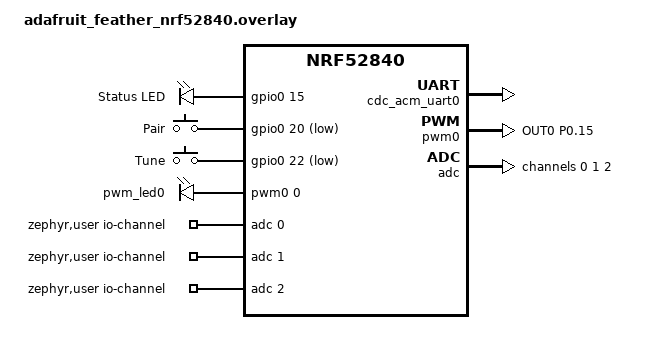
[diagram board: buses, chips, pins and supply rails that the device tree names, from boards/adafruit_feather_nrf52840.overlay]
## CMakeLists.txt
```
# firmware-pod/CMakeLists.txt
cmake_minimum_required(VERSION 3.20.0)
find_package(Zephyr REQUIRED HINTS $ENV{ZEPHYR_BASE})
project(open-elin-pod-firmware)

target_sources(app PRIVATE
  src/main.c
  src/led.c
  src/battery.c
  src/radio.c
  src/buttons.c
  src/commands.c
  src/protocol.c
  src/gatt.c
)
```

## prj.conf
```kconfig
# firmware-pod/prj.conf

# Use internal RC oscillator (SuperMini's 32.768 kHz crystal is often faulty)
CONFIG_CLOCK_CONTROL_NRF_K32SRC_RC=y
CONFIG_CLOCK_CONTROL_NRF_K32SRC_XTAL=n

# Flash layout for nice_nano UF2 bootloader (MBR at 0x0000, app starts at 0x1000)
CONFIG_FLASH_LOAD_OFFSET=0x1000
CONFIG_BUILD_OUTPUT_UF2=y
CONFIG_BUILD_OUTPUT_UF2_FAMILY_ID="0xADA52840"

# GPIO
CONFIG_GPIO=y

# Reboot support (for bootloader entry)
CONFIG_REBOOT=y

# Logging
CONFIG_LOG=y
CONFIG_LOG_DEFAULT_LEVEL=2

# USB CDC ACM serial console
CONFIG_USB_DEVICE_STACK=y
CONFIG_USB_DEVICE_PRODUCT="NXS Pod Firmware"
CONFIG_USB_DEVICE_VID=0x1209
CONFIG_USB_DEVICE_PID=0x0001
CONFIG_UART_LINE_CTRL=y

# Route console and logging to USB serial
CONFIG_CONSOLE=y
CONFIG_UART_CONSOLE=y
CONFIG_SERIAL=y
CONFIG_USB_CDC_ACM=y
CONFIG_USB_CDC_ACM_LOG_LEVEL_OFF=y

# BLE
CONFIG_BT=y
CONFIG_BT_PERIPHERAL=y
CONFIG_BT_DEVICE_NAME="NXS MTB Pod"
CONFIG_BT_DEVICE_APPEARANCE=0
CONFIG_BT_GAP_AUTO_UPDATE_CONN_PARAMS=y
CONFIG_BT_MAX_CONN=2

# BLE Security (hub bonds to pod during add-device)
CONFIG_BT_SMP=y
CONFIG_BT_BONDABLE=y
CONFIG_BT_MAX_PAIRED=1
CONFIG_BT_KEYS_OVERWRITE_OLDEST=y
CONFIG_BT_SMP_ALLOW_UNAUTH_OVERWRITE=y
CONFIG_BT_SMP_SC_PAIR_ONLY=n

# GATT
CONFIG_BT_GATT_DYNAMIC_DB=n
CONFIG_BT_ATT_TX_COUNT=4

# Flash + NVS for bond persistence
# (partition at 0xEC000, below bootloader at 0xF4000)
CONFIG_MPU_ALLOW_FLASH_WRITE=y
CONFIG_FLASH=y
CONFIG_FLASH_PAGE_LAYOUT=y
CONFIG_FLASH_MAP=y
CONFIG_NVS=y
CONFIG_NVS_LOG_LEVEL_DBG=y
CONFIG_SETTINGS=y
CONFIG_SETTINGS_NVS=y
CONFIG_BT_SETTINGS=y

# ADC (battery voltage measurement)
CONFIG_ADC=y

# PWM (battery-level LED pulse indicator)
CONFIG_PWM=y

# Watchdog
CONFIG_WATCHDOG=y

# Power management
CONFIG_PM=y

# System OFF deep sleep (sys_poweroff) — pod powers down when idle on battery,
# wakes via pair-button GPIO DETECT. ~2uA off vs ~1-3mA System ON idle.
CONFIG_POWEROFF=y

# SuperMini has no QSPI flash (Feather board enables it by default)
CONFIG_NORDIC_QSPI_NOR=n
CONFIG_NRFX_QSPI=n
```

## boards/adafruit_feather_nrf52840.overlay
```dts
/* firmware-pod/boards/adafruit_feather_nrf52840.overlay */
/* SuperMini nRF52840 pin overrides for UF2 bootloader */

#include <zephyr/dt-bindings/adc/nrf-adc.h>
#include <zephyr/dt-bindings/pwm/pwm.h>

/ {
    leds {
        compatible = "gpio-leds";
        led0: led_0 {
            gpios = <&gpio0 15 GPIO_ACTIVE_HIGH>;
            label = "Status LED";
        };
    };

    buttons {
        compatible = "gpio-keys";
        btn_pair: button_2 {
            gpios = <&gpio0 20 (GPIO_PULL_UP | GPIO_ACTIVE_LOW)>;
            label = "Pair";
        };
        btn_tune: button_3 {
            gpios = <&gpio0 22 (GPIO_PULL_UP | GPIO_ACTIVE_LOW)>;
            label = "Tune";
        };
    };

    aliases {
        sw2 = &btn_pair;
        sw3 = &btn_tune;
    };

    chosen {
        zephyr,console = &cdc_acm_uart0;
    };

    pwmleds {
        compatible = "pwm-leds";
        pwm_led0: pwm_led_0 {
            pwms = <&pwm0 0 PWM_MSEC(20) PWM_POLARITY_NORMAL>;
        };
    };
};

&zephyr_udc0 {
    cdc_acm_uart0: cdc_acm_uart0 {
        compatible = "zephyr,cdc-acm-uart";
    };
};

/* Move storage_partition BEFORE UF2 bootloader (0xF4000+).
 * Default Zephyr puts it at 0xF8000 which overlaps the Adafruit bootloader
 * at 0xF4000-0x100000 and bricks it (see https://zmk.dev/blog/2020/10/03/bootloader-fix).
 * ZMK's fix: 32KB (8 sectors) at 0xEC000-0xF4000, right below the bootloader. */

/* Delete the default storage_partition at 0xF8000 */
/delete-node/ &storage_partition;

&flash0 {
    partitions {
        /* Shrink code_partition to end before storage */
        code_partition: partition@1000 {
            reg = <0x00001000 0x000eb000>;  /* 0x1000 to 0xEC000 */
        };

        /* 32KB NVS storage, safely below bootloader */
        storage_partition: partition@ec000 {
            compatible = "zephyr,mapped-partition";
            label = "storage";
            reg = <0x000ec000 0x00008000>;  /* 0xEC000 to 0xF4000 */
        };

        /* 0xF4000-0x100000 reserved for Adafruit UF2 bootloader */
    };
};

/* PWM for battery-level LED pulse indicator */
&pwm0 {
    status = "okay";
    pinctrl-0 = <&pwm0_default>;
    pinctrl-1 = <&pwm0_sleep>;
    pinctrl-names = "default", "sleep";
};

&pinctrl {
    pwm0_default: pwm0_default {
        group1 {
            psels = <NRF_PSEL(PWM_OUT0, 0, 15)>;
        };
    };
    pwm0_sleep: pwm0_sleep {
        group1 {
            psels = <NRF_PSEL(PWM_OUT0, 0, 15)>;
            low-power-enable;
        };
    };
};

/* SuperMini has no QSPI flash — disable to suppress JEDEC ID error */
&qspi {
    status = "disabled";
};

/* Battery voltage via nRF52840 internal VDDHDIV5.
 * Reads VDDH/5 — gives real battery voltage when on battery (no USB).
 * On USB: reads ~5V (VDDH = USB), not useful for battery level.
 * No external voltage divider needed — zero hardware mods. */
/ {
    zephyr,user {
        io-channels = <&adc 0>, <&adc 1>, <&adc 2>;
    };
};

&adc {
    status = "okay";
    #address-cells = <1>;
    #size-cells = <0>;
    channel@0 {
        reg = <0>;
        zephyr,gain = "ADC_GAIN_1_6";
        zephyr,reference = "ADC_REF_INTERNAL";
        zephyr,acquisition-time = <ADC_ACQ_TIME_DEFAULT>;
        zephyr,input-positive = <NRF_SAADC_VDDHDIV5>;
        zephyr,resolution = <12>;
    };
    /* Lever UP button — P0.29 / AIN5 */
    channel@1 {
        reg = <1>;
        zephyr,gain = "ADC_GAIN_1_4";
        zephyr,reference = "ADC_REF_INTERNAL";
        zephyr,acquisition-time = <ADC_ACQ_TIME(ADC_ACQ_TIME_MICROSECONDS, 10)>;
        zephyr,input-positive = <NRF_SAADC_AIN5>;
        zephyr,resolution = <12>;
    };
    /* Lever DOWN button — P0.31 / AIN7 */
    channel@2 {
        reg = <2>;
        zephyr,gain = "ADC_GAIN_1_4";
        zephyr,reference = "ADC_REF_INTERNAL";
        zephyr,acquisition-time = <ADC_ACQ_TIME(ADC_ACQ_TIME_MICROSECONDS, 10)>;
        zephyr,input-positive = <NRF_SAADC_AIN7>;
        zephyr,resolution = <12>;
    };
};
```

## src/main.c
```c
/* firmware-pod/src/main.c — application entry point */
#include <zephyr/kernel.h>
#include <zephyr/drivers/uart.h>
#include <zephyr/usb/usb_device.h>
#include <zephyr/logging/log.h>
#include <zephyr/bluetooth/bluetooth.h>
#include <zephyr/settings/settings.h>
#include <hal/nrf_gpio.h>
#include <zephyr/drivers/watchdog.h>

#include "app.h"
#include "led.h"
#include "battery.h"
#include "radio.h"
#include "buttons.h"
#include "commands.h"

LOG_MODULE_REGISTER(main, LOG_LEVEL_INF);

struct app_state app = {
    .pending_shift = 0xFF,
};

static void usb_status_cb(enum usb_dc_status_code status, const uint8_t *param)
{
    ARG_UNUSED(param);
    switch (status) {
    case USB_DC_CONFIGURED:
    case USB_DC_RESUME:
        app.usb_active = true;
        break;
    case USB_DC_DISCONNECTED:
    case USB_DC_SUSPEND:
        app.usb_active = false;
        break;
    default:
        break;
    }
}

int main(void)
{
    usb_enable(usb_status_cb);

    /* Only wait for USB enumeration if cable is plugged in */
    if (NRF_POWER->USBREGSTATUS & POWER_USBREGSTATUS_VBUSDETECT_Msk) {
        k_msleep(1000);
    }

    led_init();
    LOG_INF("NXS pod firmware v0.1.0 (Zephyr)");

    battery_init();

    /* BLE init */
    int err = bt_enable(NULL);
    if (err) {
        LOG_ERR("BT init failed (err %d)", err);
        return 1;
    }

    /* NVS is clean — init settings subsystem only */
    int rc = settings_subsys_init();
    LOG_INF("Settings init: %d", rc);
    if (rc == 0) {
        settings_load();
        LOG_INF("Settings loaded");
    }

    radio_init();
    buttons_init();
    commands_init();

    /* Print help banner to serial */
    print_help();

    /* Silent battery check every 15min (updates cached battery_mv) */
    battery_periodic_start();

    /* Watchdog: reboot if main loop stalls for >10s */
    const struct device *wdt = DEVICE_DT_GET(DT_NODELABEL(wdt0));
    int wdt_channel = -1;
    if (device_is_ready(wdt)) {
        struct wdt_timeout_cfg wdt_cfg = {
            .window.min = 0,
            .window.max = 10000,
            .callback = NULL,
            .flags = WDT_FLAG_RESET_SOC,
        };
        wdt_channel = wdt_install_timeout(wdt, &wdt_cfg);
        if (wdt_channel >= 0) {
            wdt_setup(wdt, WDT_OPT_PAUSE_HALTED_BY_DBG);
            LOG_INF("Watchdog started (10s timeout)");
        } else {
            LOG_WRN("Watchdog timeout install failed: %d", wdt_channel);
        }
    } else {
        LOG_WRN("Watchdog device not ready");
    }

    /* Main loop: poll serial (USB CDC doesn't support interrupt-driven rx) */
    const struct device *console = DEVICE_DT_GET(DT_CHOSEN(zephyr_console));
    uint8_t ch;

    while (1) {
        if (wdt_channel >= 0) {
            wdt_feed(wdt, wdt_channel);
        }

        if (app.usb_active && uart_poll_in(console, &ch) == 0) {
            handle_command(ch);
        }

        /* Sleep longer when no USB — serial polling is pointless without a host.
         * Buttons and BLE are interrupt-driven, so nothing is missed. */
        k_msleep(app.usb_active ? 50 : 5000);
    }
    return 0;
}
```

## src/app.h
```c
/* firmware-pod/src/app.h — shared application state */
#pragma once

#include <zephyr/kernel.h>
#include <zephyr/bluetooth/conn.h>
#include <zephyr/logging/log.h>
#include "gatt.h"

/*── Shared mutable state ──*/
struct app_state {
    struct bt_conn *current_conn;
    volatile bool   radio_sleeping;
    volatile bool   usb_active;
    int32_t         battery_mv;     /* updated every 15min, on connect, and on 'v' */
    uint8_t         pending_shift;  /* btn_id to send once hub connects (0xFF = none) */
    bool            latency_relaxed;
    bool            lever_adc_debug;
    uint8_t         mfr_data[11];   /* 2 company ID + 2 type + 6 MAC + 1 flag */
};

extern struct app_state app;

/*── Button IDs ──*/
#define BTN_SHIFT_UP   0x00
#define BTN_SHIFT_DOWN 0x01
#define BTN_TUNE       0x02

/* Log to both console and BLE NUS (if subscribed). */
#define NUS_LOG(fmt, ...) do { \
    LOG_INF(fmt, ##__VA_ARGS__); \
    if (gatt_nus_is_subscribed()) { \
        char _nb[80]; \
        int _nl = snprintf(_nb, sizeof(_nb), fmt "\n", ##__VA_ARGS__); \
        if (_nl > 0) { gatt_nus_send(_nb, MIN((size_t)_nl, sizeof(_nb))); } \
    } \
} while (0)
```

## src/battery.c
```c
/* firmware-pod/src/battery.c — ADC battery and lever reading */
#include <zephyr/kernel.h>
#include <zephyr/drivers/adc.h>
#include <zephyr/logging/log.h>

#include "app.h"
#include "battery.h"

LOG_MODULE_DECLARE(main, LOG_LEVEL_INF);

/*── ADC channel specs ──*/
static const struct adc_dt_spec adc_battery =
    ADC_DT_SPEC_GET_BY_IDX(DT_PATH(zephyr_user), 0);
static const struct adc_dt_spec adc_lever_up =
    ADC_DT_SPEC_GET_BY_IDX(DT_PATH(zephyr_user), 1);
static const struct adc_dt_spec adc_lever_down =
    ADC_DT_SPEC_GET_BY_IDX(DT_PATH(zephyr_user), 2);

/* VDDHDIV5: internal 1/5 divider on VDDH pin */
#define VDIV_FACTOR 5

int battery_init(void)
{
    if (!adc_is_ready_dt(&adc_battery)) {
        LOG_ERR("ADC device not ready");
        return -ENODEV;
    }
    int err = adc_channel_setup_dt(&adc_battery);
    if (err) {
        LOG_ERR("ADC channel setup failed: %d", err);
        return err;
    }
    LOG_INF("Battery ADC ready (VDDHDIV5 internal)");

    err = adc_channel_setup_dt(&adc_lever_up);
    if (err) {
        LOG_ERR("ADC lever-up setup failed: %d", err);
        return err;
    }
    err = adc_channel_setup_dt(&adc_lever_down);
    if (err) {
        LOG_ERR("ADC lever-down setup failed: %d", err);
        return err;
    }
    LOG_INF("Lever ADC ready (AIN5=up, AIN7=down)");
    return 0;
}

int32_t read_battery_mv(void)
{
    int16_t buf;
    struct adc_sequence seq = {
        .buffer = &buf,
        .buffer_size = sizeof(buf),
    };
    adc_sequence_init_dt(&adc_battery, &seq);
    int err = adc_read_dt(&adc_battery, &seq);
    if (err) {
        LOG_ERR("ADC read failed: %d", err);
        return -1;
    }
    int32_t mv = buf;
    adc_raw_to_millivolts_dt(&adc_battery, &mv);
    return mv * VDIV_FACTOR;
}

static int32_t read_lever_mv(const struct adc_dt_spec *spec)
{
    int16_t buf;
    struct adc_sequence seq = {
        .buffer = &buf,
        .buffer_size = sizeof(buf),
    };
    adc_sequence_init_dt(spec, &seq);
    int err = adc_read_dt(spec, &seq);
    if (err) {
        return -1;
    }
    int32_t mv = buf;
    adc_raw_to_millivolts_dt(spec, &mv);
    return mv;
}

int32_t read_lever_up_mv(void)
{
    return read_lever_mv(&adc_lever_up);
}

int32_t read_lever_down_mv(void)
{
    return read_lever_mv(&adc_lever_down);
}

/*── Background battery check (every 15min) ──*/
static void battery_work_handler(struct k_work *work)
{
    ARG_UNUSED(work);
    app.battery_mv = read_battery_mv();
}
static K_WORK_DEFINE(battery_work, battery_work_handler);

static void periodic_timer_handler(struct k_timer *timer)
{
    ARG_UNUSED(timer);
    k_work_submit(&battery_work);
}
static K_TIMER_DEFINE(periodic_timer, periodic_timer_handler, NULL);

void battery_periodic_start(void)
{
    k_timer_start(&periodic_timer, K_MINUTES(15), K_MINUTES(15));
}
```

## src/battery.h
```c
/* firmware-pod/src/battery.h — ADC battery and lever reading */
#pragma once

#include <stdint.h>

int     battery_init(void);
int32_t read_battery_mv(void);
int32_t read_lever_up_mv(void);
int32_t read_lever_down_mv(void);
void    battery_periodic_start(void);
```

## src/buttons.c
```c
/* firmware-pod/src/buttons.c — GPIO buttons and lever ADC polling */
#include <zephyr/kernel.h>
#include <zephyr/drivers/gpio.h>
#include <zephyr/logging/log.h>
#include <hal/nrf_gpio.h>

#include "app.h"
#include "buttons.h"
#include "radio.h"
#include "led.h"
#include "battery.h"

LOG_MODULE_DECLARE(main, LOG_LEVEL_INF);

/*── GPIO button specs ──*/
static const struct gpio_dt_spec btn_pair = GPIO_DT_SPEC_GET(DT_ALIAS(sw2), gpios); /* P0.20 */
static const struct gpio_dt_spec btn_tune = GPIO_DT_SPEC_GET(DT_ALIAS(sw3), gpios); /* P0.22 */
static struct gpio_callback btn_pair_cb_data;
static struct gpio_callback btn_tune_cb_data;

/*── Lever ADC polling ──*/
#define LEVER_THRESHOLD_MV  300   /* <300mV = button pressed (switch shorts to GND) */
#define LEVER_POLL_MS       10    /* poll every 10ms */
#define DEBOUNCE_MS         150

static int64_t last_shift_ms;     /* shared across up/down to suppress crosstalk */
static bool lever_up_pressed;
static bool lever_down_pressed;

static void lever_poll_work_handler(struct k_work *work);
static K_WORK_DEFINE(lever_poll_work, lever_poll_work_handler);

static void lever_poll_timer_handler(struct k_timer *timer);
static K_TIMER_DEFINE(lever_poll_timer, lever_poll_timer_handler, NULL);

static void lever_poll_timer_handler(struct k_timer *timer)
{
    ARG_UNUSED(timer);
    k_work_submit(&lever_poll_work);
}

static void lever_poll_work_handler(struct k_work *work)
{
    ARG_UNUSED(work);
    int32_t mv_up = read_lever_up_mv();
    int32_t mv_down = read_lever_down_mv();

    if (app.lever_adc_debug) {
        static int32_t prev_up = -1, prev_down = -1;
        if (mv_up != prev_up || mv_down != prev_down) {
            printk("ADC up=%d dn=%d\n", (int)mv_up, (int)mv_down);
            prev_up = mv_up;
            prev_down = mv_down;
        }
    }

    /* Lever switches are normally-open to GND: idle=VDD(2399mV), pressed=~0mV */
    bool up_now = (mv_up < LEVER_THRESHOLD_MV);
    bool down_now = (mv_down < LEVER_THRESHOLD_MV);

    if (up_now && !lever_up_pressed) {
        lever_up_pressed = true;
        int64_t now = k_uptime_get();
        if (now - last_shift_ms >= DEBOUNCE_MS) {
            last_shift_ms = now;
            send_shift_or_queue(BTN_SHIFT_UP);
        }
    } else if (!up_now) {
        lever_up_pressed = false;
    }

    if (down_now && !lever_down_pressed) {
        lever_down_pressed = true;
        int64_t now = k_uptime_get();
        if (now - last_shift_ms >= DEBOUNCE_MS) {
            last_shift_ms = now;
            send_shift_or_queue(BTN_SHIFT_DOWN);
        }
    } else if (!down_now) {
        lever_down_pressed = false;
    }
}

void buttons_lever_poll_start(void)
{
    k_timer_start(&lever_poll_timer, K_MSEC(LEVER_POLL_MS), K_MSEC(LEVER_POLL_MS));
}

void buttons_lever_poll_stop(void)
{
    k_timer_stop(&lever_poll_timer);
}

/*── GPIO button handlers ──*/
static void btn_pair_work_handler(struct k_work *work);
static void btn_pair_hold_handler(struct k_work *work);
static void btn_tune_work_handler(struct k_work *work);
static K_WORK_DEFINE(btn_pair_work, btn_pair_work_handler);
static K_WORK_DELAYABLE_DEFINE(btn_pair_hold_work, btn_pair_hold_handler);
static K_WORK_DEFINE(btn_tune_work, btn_tune_work_handler);

static void btn_pair_isr(const struct device *dev, struct gpio_callback *cb, uint32_t pins)
{
    ARG_UNUSED(dev); ARG_UNUSED(cb); ARG_UNUSED(pins);
    k_work_submit(&btn_pair_work);
}

static void btn_tune_isr(const struct device *dev, struct gpio_callback *cb, uint32_t pins)
{
    ARG_UNUSED(dev); ARG_UNUSED(cb); ARG_UNUSED(pins);
    k_work_submit(&btn_tune_work);
}

static int64_t last_btn_pair_ms;
static int64_t last_btn_tune_ms;

static void btn_pair_work_handler(struct k_work *work)
{
    ARG_UNUSED(work);

    if (gpio_pin_get_dt(&btn_pair)) {
        /* Button pressed — debounce only the press edge so a quick tap's
         * release is never swallowed (else the 6s hold timer would fire). */
        int64_t now = k_uptime_get();
        if (now - last_btn_pair_ms < DEBOUNCE_MS) { return; }
        last_btn_pair_ms = now;

        /* Wake radio, flash battery level, start 6s hold timer */
        if (app.radio_sleeping) {
            radio_wake();
        }
        /* Fresh battery read + PWM brightness flash */
        app.battery_mv = read_battery_mv();
        led_battery_flash(app.battery_mv);
        NUS_LOG("Battery: %d mV%s", app.battery_mv, app.usb_active ? " (USB)" : "");
        /* Send battery to hub if connected */
        if (app.current_conn) {
            send_battery();
        }
        k_work_schedule(&btn_pair_hold_work, K_SECONDS(6));
    } else {
        /* Button released — always cancel the pending hold (no debounce gate) */
        k_work_cancel_delayable(&btn_pair_hold_work);
    }
}

static void btn_pair_hold_handler(struct k_work *work)
{
    ARG_UNUSED(work);
    set_pairing_mode(true);
}

static void btn_tune_work_handler(struct k_work *work)
{
    ARG_UNUSED(work);
    int64_t now = k_uptime_get();
    if (now - last_btn_tune_ms < DEBOUNCE_MS) { return; }
    last_btn_tune_ms = now;
    send_shift_or_queue(BTN_TUNE);
}

/*── Init ──*/
void buttons_init(void)
{
    /* GPIO buttons */
    gpio_pin_configure_dt(&btn_pair, GPIO_INPUT);
    gpio_pin_interrupt_configure_dt(&btn_pair, GPIO_INT_EDGE_BOTH);  /* need both edges for long-press */
    gpio_init_callback(&btn_pair_cb_data, btn_pair_isr, BIT(btn_pair.pin));
    gpio_add_callback(btn_pair.port, &btn_pair_cb_data);
    gpio_pin_configure_dt(&btn_tune, GPIO_INPUT);
    gpio_pin_interrupt_configure_dt(&btn_tune, GPIO_INT_EDGE_TO_ACTIVE);
    gpio_init_callback(&btn_tune_cb_data, btn_tune_isr, BIT(btn_tune.pin));
    gpio_add_callback(btn_tune.port, &btn_tune_cb_data);
    LOG_INF("GPIO buttons: P0.20=pair P0.22=tune");

    /* Internal pull-ups on lever ADC pins (P0.29=AIN5, P0.31=AIN7).
     * Di2 lever buttons are normally-open switches to GND.
     * Idle: pin pulled to VDD (~2400mV) by pull-up.  Pressed: ~0mV.
     * INPUT=Disconnect avoids digital buffer loading the analog signal. */
    nrf_gpio_cfg(29, NRF_GPIO_PIN_DIR_INPUT, NRF_GPIO_PIN_INPUT_DISCONNECT,
                 NRF_GPIO_PIN_PULLUP, NRF_GPIO_PIN_S0S1, NRF_GPIO_PIN_NOSENSE);
    nrf_gpio_cfg(31, NRF_GPIO_PIN_DIR_INPUT, NRF_GPIO_PIN_INPUT_DISCONNECT,
                 NRF_GPIO_PIN_PULLUP, NRF_GPIO_PIN_S0S1, NRF_GPIO_PIN_NOSENSE);
    LOG_INF("Internal pull-ups enabled on P0.29 and P0.31");

    /* Lever ADC polling starts when hub connects (not at boot — saves power) */
    int32_t up0 = read_lever_up_mv();
    int32_t dn0 = read_lever_down_mv();
    LOG_INF("Lever ADC ready: P0.29=up P0.31=down (%dms, <%dmV)",
            LEVER_POLL_MS, LEVER_THRESHOLD_MV);
    LOG_INF("Lever ADC idle: up=%dmV down=%dmV", up0, dn0);
}
```

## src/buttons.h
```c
/* firmware-pod/src/buttons.h — GPIO buttons and lever ADC polling */
#pragma once

void buttons_init(void);
void buttons_lever_poll_start(void);
void buttons_lever_poll_stop(void);
```

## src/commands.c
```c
/* firmware-pod/src/commands.c — Serial and NUS command handling */
#include <zephyr/kernel.h>
#include <zephyr/sys/reboot.h>
#include <zephyr/logging/log.h>
#include <hal/nrf_gpio.h>

#include "app.h"
#include "commands.h"
#include "radio.h"
#include "led.h"
#include "battery.h"
#include "gatt.h"

LOG_MODULE_DECLARE(main, LOG_LEVEL_INF);

static void enter_bootloader(void)
{
    NRF_POWER->GPREGRET = 0x57;
    sys_reboot(SYS_REBOOT_COLD);
}

void print_help(void)
{
    /* Serial: ANSI colored (bold keys, yellow header) */
    printk("\033[1;33mCommands:\033[0m "
           "\033[1mu\033[0m=up \033[1md\033[0m=down \033[1mt\033[0m=tune\n"
           "         \033[1mp\033[0m=wake \033[1mP\033[0m=pair \033[1mB\033[0m=boot "
           "\033[1mS\033[0m=sleep\n"
           "         \033[1mL\033[0m=latency \033[1mv\033[0m=battery "
           "\033[1m0-9\033[0m=sim bat\n"
           "         \033[1ma\033[0m=adc "
           "\033[1m?\033[0m=help\n");
    /* NUS: plain text (no ANSI) */
    if (gatt_nus_is_subscribed()) {
        gatt_nus_send("Commands: u=up d=down t=tune\n", 30);
        gatt_nus_send("p=wake P=pair B=boot S=sleep\n", 29);
        gatt_nus_send("L=latency v=bat 0-9=sim a=adc\n", 31);
        gatt_nus_send("?=help\n", 7);
    }
}

void handle_command(uint8_t ch)
{
    if (ch == 'u') {
        send_shift_or_queue(BTN_SHIFT_UP);
    } else if (ch == 'd') {
        send_shift_or_queue(BTN_SHIFT_DOWN);
    } else if (ch == 't') {
        send_shift_or_queue(BTN_TUNE);
    } else if (ch == 'p') {
        if (app.radio_sleeping) {
            radio_wake();
        }
    } else if (ch == 'P') {
        set_pairing_mode(true);
    } else if (ch == 'B') {
        NUS_LOG("Entering bootloader...");
        k_msleep(100);
        enter_bootloader();
    } else if (ch == 'S') {
        if (app.current_conn) {
            NUS_LOG("Can't sleep while connected");
        } else {
            radio_force_sleep();
        }
    } else if (ch == 'L') {
        radio_force_latency_escalation();
    } else if (ch == 'v') {
        app.battery_mv = read_battery_mv();
        NUS_LOG("Battery: %d mV%s", app.battery_mv, app.usb_active ? " (USB)" : "");
    } else if (ch >= '0' && ch <= '9') {
        /* Simulate battery level: 0=3000mV(dead) .. 9=4200mV(full) */
        int32_t sim_mv = 3000 + (ch - '0') * 1200 / 9;
        app.battery_mv = sim_mv;
        led_battery_flash(sim_mv);
        NUS_LOG("Sim battery: %d mV (key %c)", sim_mv, ch);
    } else if (ch == 'a') {
        app.lever_adc_debug = !app.lever_adc_debug;
        NUS_LOG("Lever ADC debug: %s", app.lever_adc_debug ? "ON (10ms)" : "OFF");
    } else if (ch == '?') {
        print_help();
    }
}

static void on_nus_rx(const uint8_t *data, uint16_t len)
{
    if (len == 0) return;
    handle_command(data[0]);
}

static void on_nus_subscribe(bool subscribed)
{
    if (subscribed) {
        print_help();
    }
}

void commands_init(void)
{
    gatt_set_nus_rx_cb(on_nus_rx);
    gatt_set_nus_subscribe_cb(on_nus_subscribe);
}
```

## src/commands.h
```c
/* firmware-pod/src/commands.h — Serial and NUS command handling */
#pragma once

#include <stdint.h>

void commands_init(void);
void handle_command(uint8_t ch);
void print_help(void);
```

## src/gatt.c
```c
/* firmware-pod/src/gatt.c */
#include "gatt.h"
#include <zephyr/bluetooth/bluetooth.h>
#include <zephyr/bluetooth/uuid.h>
#include <zephyr/bluetooth/gatt.h>
#include <zephyr/logging/log.h>
#include <stdbool.h>
#include <string.h>

LOG_MODULE_REGISTER(gatt, LOG_LEVEL_INF);

/* BikeNet service UUID: a5c1c000-cc20-ba91-0c1a-ef3f9e643d79 */
static struct bt_uuid_128 svc_uuid = BT_UUID_INIT_128(
    0x79, 0x3D, 0x64, 0x9E, 0x3F, 0xEF, 0x1A, 0x0C,
    0x91, 0xBA, 0x20, 0xCC, 0x00, 0xC0, 0xC1, 0xA5);

/* MSG characteristic UUID: a5c1cc01-cc20-ba91-0c1a-ef3f9e643d79 */
static struct bt_uuid_128 msg_uuid = BT_UUID_INIT_128(
    0x79, 0x3D, 0x64, 0x9E, 0x3F, 0xEF, 0x1A, 0x0C,
    0x91, 0xBA, 0x20, 0xCC, 0x01, 0xCC, 0xC1, 0xA5);

/* PIN characteristic UUID: a5c1cc02-cc20-ba91-0c1a-ef3f9e643d79 */
static struct bt_uuid_128 pin_uuid = BT_UUID_INIT_128(
    0x79, 0x3D, 0x64, 0x9E, 0x3F, 0xEF, 0x1A, 0x0C,
    0x91, 0xBA, 0x20, 0xCC, 0x02, 0xCC, 0xC1, 0xA5);

static gatt_write_cb_t msg_write_cb;
static gatt_write_cb_t pin_write_cb;

static uint8_t msg_buf[20];
static uint8_t pin_buf[20];

void gatt_set_msg_write_cb(gatt_write_cb_t cb) { msg_write_cb = cb; }
void gatt_set_pin_write_cb(gatt_write_cb_t cb) { pin_write_cb = cb; }

static ssize_t msg_write(struct bt_conn *conn, const struct bt_gatt_attr *attr,
                         const void *buf, uint16_t len, uint16_t offset, uint8_t flags)
{
    if (offset + len > sizeof(msg_buf)) {
        return BT_GATT_ERR(BT_ATT_ERR_INVALID_OFFSET);
    }
    memcpy(msg_buf + offset, buf, len);
    LOG_HEXDUMP_INF(msg_buf, len, "<- MSG");
    if (msg_write_cb) {
        msg_write_cb(msg_buf, len);
    }
    return len;
}

static ssize_t pin_write(struct bt_conn *conn, const struct bt_gatt_attr *attr,
                         const void *buf, uint16_t len, uint16_t offset, uint8_t flags)
{
    if (offset + len > sizeof(pin_buf)) {
        return BT_GATT_ERR(BT_ATT_ERR_INVALID_OFFSET);
    }
    memcpy(pin_buf + offset, buf, len);
    LOG_HEXDUMP_INF(pin_buf, len, "<- PIN");
    if (pin_write_cb) {
        pin_write_cb(pin_buf, len);
    }
    return len;
}

static void msg_ccc_changed(const struct bt_gatt_attr *attr, uint16_t value)
{
    LOG_INF("MSG notifications %s", value == BT_GATT_CCC_NOTIFY ? "enabled" : "disabled");
}

static void pin_ccc_changed(const struct bt_gatt_attr *attr, uint16_t value)
{
    LOG_INF("PIN notifications %s", value == BT_GATT_CCC_NOTIFY ? "enabled" : "disabled");
}

/* GATT service layout:
 * [0] Primary Service declaration
 * [1] MSG Characteristic declaration
 * [2] MSG Value attribute (write handler)
 * [3] MSG CCC descriptor
 * [4] PIN Characteristic declaration
 * [5] PIN Value attribute (write handler)
 * [6] PIN CCC descriptor
 */
BT_GATT_SERVICE_DEFINE(bikenet_svc,
    BT_GATT_PRIMARY_SERVICE(&svc_uuid),

    /* MSG: write + write_no_resp + notify */
    BT_GATT_CHARACTERISTIC(&msg_uuid.uuid,
        BT_GATT_CHRC_WRITE | BT_GATT_CHRC_WRITE_WITHOUT_RESP | BT_GATT_CHRC_NOTIFY,
        BT_GATT_PERM_WRITE,
        NULL, msg_write, NULL),
    BT_GATT_CCC(msg_ccc_changed, BT_GATT_PERM_READ | BT_GATT_PERM_WRITE),

    /* PIN: write + write_no_resp + notify */
    BT_GATT_CHARACTERISTIC(&pin_uuid.uuid,
        BT_GATT_CHRC_WRITE | BT_GATT_CHRC_WRITE_WITHOUT_RESP | BT_GATT_CHRC_NOTIFY,
        BT_GATT_PERM_WRITE,
        NULL, pin_write, NULL),
    BT_GATT_CCC(pin_ccc_changed, BT_GATT_PERM_READ | BT_GATT_PERM_WRITE),
);

int gatt_notify_msg(const uint8_t *data, size_t len)
{
    return bt_gatt_notify(NULL, &bikenet_svc.attrs[2], data, len);
}

int gatt_notify_pin(const uint8_t *data, size_t len)
{
    return bt_gatt_notify(NULL, &bikenet_svc.attrs[5], data, len);
}

/*── Nordic UART Service (NUS) ──────────────────────────────────────────────*/
/* UUID: 6e400001-b5a3-f393-e0a9-e50e24dcca9e */
static struct bt_uuid_128 nus_svc_uuid = BT_UUID_INIT_128(
    0x9E, 0xCA, 0xDC, 0x24, 0x0E, 0xE5, 0xA9, 0xE0,
    0x93, 0xF3, 0xA3, 0xB5, 0x01, 0x00, 0x40, 0x6E);

/* NUS TX (pod→phone): 6e400003-b5a3-f393-e0a9-e50e24dcca9e */
static struct bt_uuid_128 nus_tx_uuid = BT_UUID_INIT_128(
    0x9E, 0xCA, 0xDC, 0x24, 0x0E, 0xE5, 0xA9, 0xE0,
    0x93, 0xF3, 0xA3, 0xB5, 0x03, 0x00, 0x40, 0x6E);

/* NUS RX (phone→pod): 6e400002-b5a3-f393-e0a9-e50e24dcca9e */
static struct bt_uuid_128 nus_rx_uuid = BT_UUID_INIT_128(
    0x9E, 0xCA, 0xDC, 0x24, 0x0E, 0xE5, 0xA9, 0xE0,
    0x93, 0xF3, 0xA3, 0xB5, 0x02, 0x00, 0x40, 0x6E);

static volatile bool nus_subscribed;
static gatt_write_cb_t nus_rx_cb;
static gatt_nus_subscribe_cb_t nus_subscribe_cb;

void gatt_set_nus_rx_cb(gatt_write_cb_t cb) { nus_rx_cb = cb; }
void gatt_set_nus_subscribe_cb(gatt_nus_subscribe_cb_t cb) { nus_subscribe_cb = cb; }

static void nus_ccc_changed(const struct bt_gatt_attr *attr, uint16_t value)
{
    nus_subscribed = (value == BT_GATT_CCC_NOTIFY);
    LOG_INF("NUS TX notifications %s", nus_subscribed ? "enabled" : "disabled");
    if (nus_subscribe_cb) {
        nus_subscribe_cb(nus_subscribed);
    }
}

static ssize_t nus_rx_write(struct bt_conn *conn, const struct bt_gatt_attr *attr,
                            const void *buf, uint16_t len, uint16_t offset, uint8_t flags)
{
    if (len > 0 && nus_rx_cb) {
        nus_rx_cb(buf, len);
    }
    return len;
}

BT_GATT_SERVICE_DEFINE(nus_svc,
    BT_GATT_PRIMARY_SERVICE(&nus_svc_uuid),

    /* TX: notify only (pod → phone) */
    BT_GATT_CHARACTERISTIC(&nus_tx_uuid.uuid,
        BT_GATT_CHRC_NOTIFY,
        BT_GATT_PERM_NONE,
        NULL, NULL, NULL),
    BT_GATT_CCC(nus_ccc_changed, BT_GATT_PERM_READ | BT_GATT_PERM_WRITE),

    /* RX: write (phone → pod) */
    BT_GATT_CHARACTERISTIC(&nus_rx_uuid.uuid,
        BT_GATT_CHRC_WRITE | BT_GATT_CHRC_WRITE_WITHOUT_RESP,
        BT_GATT_PERM_WRITE,
        NULL, nus_rx_write, NULL),
);

bool gatt_nus_is_subscribed(void)
{
    return nus_subscribed;
}

int gatt_nus_send(const char *str, size_t len)
{
    if (!nus_subscribed || len == 0) {
        return 0;
    }
    return bt_gatt_notify(NULL, &nus_svc.attrs[1], str, len);
}
```

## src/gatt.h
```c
/* firmware-pod/src/gatt.h */
#ifndef GATT_H
#define GATT_H

#include <zephyr/bluetooth/gatt.h>
#include <stdint.h>
#include <stddef.h>

/* Send a notification on the MSG characteristic. */
int gatt_notify_msg(const uint8_t *data, size_t len);

/* Send a notification on the PIN characteristic. */
int gatt_notify_pin(const uint8_t *data, size_t len);

/* Send a string over BLE NUS TX (no-op if nobody subscribed). */
int gatt_nus_send(const char *str, size_t len);

/* Returns true if a NUS client has subscribed to TX notifications. */
bool gatt_nus_is_subscribed(void);

/* Callback type for incoming writes. */
typedef void (*gatt_write_cb_t)(const uint8_t *data, uint16_t len);

void gatt_set_msg_write_cb(gatt_write_cb_t cb);
void gatt_set_pin_write_cb(gatt_write_cb_t cb);
void gatt_set_nus_rx_cb(gatt_write_cb_t cb);

/* Called when NUS TX notifications are enabled/disabled. */
typedef void (*gatt_nus_subscribe_cb_t)(bool subscribed);
void gatt_set_nus_subscribe_cb(gatt_nus_subscribe_cb_t cb);

#endif /* GATT_H */
```

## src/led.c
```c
/* firmware-pod/src/led.c — LED blink and battery pulse indicator */
#include <zephyr/kernel.h>
#include <zephyr/drivers/gpio.h>
#include <zephyr/drivers/pwm.h>
#include <zephyr/logging/log.h>

#include "led.h"

LOG_MODULE_DECLARE(main, LOG_LEVEL_INF);

#define LED0_NODE DT_ALIAS(led0)
static const struct gpio_dt_spec led = GPIO_DT_SPEC_GET(LED0_NODE, gpios);

static const struct pwm_dt_spec pwm_led = PWM_DT_SPEC_GET(DT_NODELABEL(pwm_led0));

/*── LED blink ──*/
static void led_off_work_handler(struct k_work *work);
static K_WORK_DELAYABLE_DEFINE(led_off_work, led_off_work_handler);

static void led_off_work_handler(struct k_work *work)
{
    ARG_UNUSED(work);
    gpio_pin_set_dt(&led, 0);
}

void led_blink(void)
{
    gpio_pin_set_dt(&led, 1);
    k_work_schedule(&led_off_work, K_MSEC(50));
}

void led_set(int value)
{
    gpio_pin_set_dt(&led, value);
}

/*── PWM battery pulse ──*/
static void led_pulse_handler(struct k_work *work);
static K_WORK_DELAYABLE_DEFINE(led_pulse_work, led_pulse_handler);

#define FADE_STEPS     12
#define FADE_STEP_MS   6
#define HOLD_MS        50
#define GAP_MS         80
#define PULSE_PCT       5  /* low brightness — just visible */

enum pulse_phase { PHASE_FADE_IN, PHASE_HOLD, PHASE_FADE_OUT, PHASE_GAP };
static uint8_t pulse_total;
static uint8_t pulse_current;
static enum pulse_phase pulse_phase;
static uint8_t fade_step;

static inline void pwm_set_pct(uint8_t pct)
{
    pwm_set_pulse_dt(&pwm_led, pwm_led.period * pct / 100);
}

static void led_pulse_handler(struct k_work *work)
{
    ARG_UNUSED(work);
    switch (pulse_phase) {
    case PHASE_FADE_IN:
        fade_step++;
        pwm_set_pct(fade_step * PULSE_PCT / FADE_STEPS);
        if (fade_step >= FADE_STEPS) {
            pulse_phase = PHASE_HOLD;
            k_work_schedule(&led_pulse_work, K_MSEC(HOLD_MS));
        } else {
            k_work_schedule(&led_pulse_work, K_MSEC(FADE_STEP_MS));
        }
        break;
    case PHASE_HOLD:
        pulse_phase = PHASE_FADE_OUT;
        fade_step = FADE_STEPS;
        k_work_schedule(&led_pulse_work, K_MSEC(FADE_STEP_MS));
        break;
    case PHASE_FADE_OUT:
        fade_step--;
        pwm_set_pct(fade_step * PULSE_PCT / FADE_STEPS);
        if (fade_step == 0) {
            pulse_current++;
            if (pulse_current < pulse_total) {
                pulse_phase = PHASE_GAP;
                k_work_schedule(&led_pulse_work, K_MSEC(GAP_MS));
            }
            /* else done — LED already off */
        } else {
            k_work_schedule(&led_pulse_work, K_MSEC(FADE_STEP_MS));
        }
        break;
    case PHASE_GAP:
        pulse_phase = PHASE_FADE_IN;
        fade_step = 0;
        k_work_schedule(&led_pulse_work, K_MSEC(FADE_STEP_MS));
        break;
    }
}

void led_battery_flash(int32_t mv)
{
    if (mv < 3000) { mv = 3000; }
    if (mv > 4200) { mv = 4200; }

    uint8_t pulses = 1 + (uint8_t)((uint32_t)(mv - 3000) * 8 / 1200);

    k_work_cancel_delayable(&led_pulse_work);
    pulse_total = pulses;
    pulse_current = 0;
    pulse_phase = PHASE_FADE_IN;
    fade_step = 0;

    pwm_set_pct(0);
    LOG_INF("Battery pulse: %u pulses (%d mV)", pulses, mv);

    k_work_schedule(&led_pulse_work, K_MSEC(FADE_STEP_MS));
}

int led_init(void)
{
    gpio_pin_configure_dt(&led, GPIO_OUTPUT_INACTIVE);
    if (!pwm_is_ready_dt(&pwm_led)) {
        LOG_ERR("PWM LED not ready");
    }
    return 0;
}
```

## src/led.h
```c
/* firmware-pod/src/led.h — LED blink and battery pulse indicator */
#pragma once

#include <stdint.h>

int  led_init(void);
void led_blink(void);
void led_set(int value);
void led_battery_flash(int32_t mv);
```

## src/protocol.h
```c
/* firmware-c/src/protocol.h */
#ifndef PROTOCOL_H
#define PROTOCOL_H

#include <stdint.h>
#include <stddef.h>

/*── Opcodes (little-endian on the wire) ──*/
#define OPCODE_BATTERY        0x4000
#define OPCODE_BUTTON         0x4001

/*── Button actions ──*/
#define ACTION_PRESS   0x00
#define ACTION_RELEASE 0x01

/*── Common frame layout: [opcode 2B LE][mac 6B LE][payload 2B] ──*/
#define FRAME_LEN       10
#define MAC_LEN          6

enum frame_offsets {
    OFF_OPCODE  = 0,   /* 2 bytes, little-endian */
    OFF_MAC     = 2,   /* 6 bytes, little-endian */
    OFF_PAYLOAD = 8,   /* 2 bytes — meaning depends on opcode */
};

/*── LE16 wire helpers ──*/
static inline void put_le16(uint8_t *dst, uint16_t val)
{
    dst[0] = (uint8_t)(val & 0xFF);
    dst[1] = (uint8_t)(val >> 8);
}

static inline uint16_t get_le16(const uint8_t *src)
{
    return (uint16_t)src[0] | ((uint16_t)src[1] << 8);
}

/*── Encoding ──*/
void protocol_encode_button(uint8_t out[FRAME_LEN],
                            const uint8_t mac_le[MAC_LEN],
                            uint8_t button_id, uint8_t action);

void protocol_encode_battery(uint8_t out[FRAME_LEN],
                             const uint8_t mac_le[MAC_LEN],
                             uint16_t mv);

#endif /* PROTOCOL_H */
```
